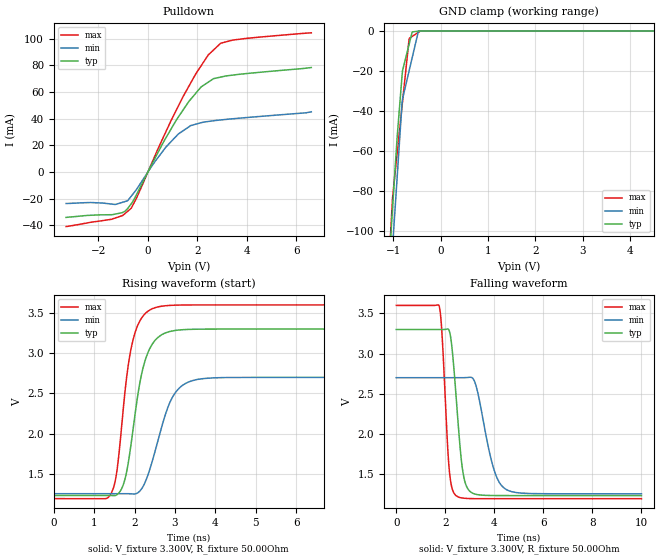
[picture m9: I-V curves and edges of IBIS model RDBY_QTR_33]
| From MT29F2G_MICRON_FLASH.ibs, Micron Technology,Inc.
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|   MODEL RDBY_QTR_33
[Model]   RDBY_QTR_33
Model_type   Open_drain
Vmeas =  1.6500V
Rref = 1000
Cref = 50pF
Vref = 3.3V
|   typ   min   max
C_comp   2.89pF   2.55pF   3.27pF
[Model Spec]
| Measurement voltage corners
Vmeas   1.650V   1.3500V   1.800V
| Timing spec test load voltage corners
Vref   3.300V   2.700V   3.600V
[Voltage Range]   3.300V   2.700V   3.600V
| Junction Temperature (Ambient temp is 25C typ, 70C min, 0C max)
[Temperature Range]   40   85   0
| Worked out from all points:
|   slope of the pulldown table from 0 to 0.495 V, typ, clamps not added: 27.9 ohm
|   GND clamp passes 1 mA (typ) near -0.61 V on its own axis
|   falling waveform, V_fixture 3.300V, R_fixture 50.00Ohm: 20-80 % time 335ps typ, 602ps min, 240ps max; typ from 3.3 V to 1.23 V
|   rising waveform, V_fixture 3.300V, R_fixture 50.00Ohm: 20-80 % time 401ps typ, 526ps min, 344ps max; typ from 1.23 V to 3.3 V
[Pulldown]
|   Voltage   I(typ)   I(min)   I(max)
-3.3V     -33.97mA   -23.6mA    -40.88mA
-1.32V    -31.51mA   -24.29mA   -34.48mA
-1.04V    -30.45mA   -22.76mA   -32.73mA
-820mV    -27.47mA   -21.52mA   -29.48mA
-670mV    -23.75mA   -18.08mA   -27.13mA
730mV     25.7mA     18.77mA    30.31mA
1.23V     41.27mA    28.55mA    49.45mA
1.73V     54.63mA    34.86mA    66.85mA
2.15V     63.87mA    37.04mA    79.73mA
2.44V     67.49mA    37.99mA    87.89mA
2.94V     71.28mA    39.12mA    96.67mA
6.6V      78.45mA    45.26mA    104.5mA
[GND Clamp]
|   Voltage   I(typ)   I(min)   I(max)
-3.3V     -1.139A    -1.091A    -1.18A
-1.31V    -207.7mA   -212.1mA   -209.5mA
-1.04V    -95.9mA    -115.2mA   -91.99mA
-1.02V    -88.34mA   -108mA     -83.28mA
-1.01V    -84.72mA   -104.5mA   -80.84mA
-920mV    -52.22mA   -72.17mA   -60.51mA
-820mV    -22.63mA   -36.29mA   -37.91mA
-810mV    -19.93mA   -34.03mA   -35.65mA
-670mV    -6.66mA    -19.92mA   -4.011mA
-600mV    -440.2uA   -12.86mA   -2.604mA
-470mV    -25.93uA   -38.69uA   -606.2uA
6.6V      0A         0A         0A
[POWER Clamp]
|No Power Clamp Diode
|   Voltage   I(typ)   I(min)   I(max)
-3.3V     0A         0A         0A
0V        0A         0A         0A
6.6V      0A         0A         0A
[Ramp]
R_load = 50.00Ohm
|   typ   min   max
dV/dt_r   1.240V/401.153ps 866.998mV/526.017ps   1.444V/343.462ps
dV/dt_f   1.240V/334.932ps 866.998mV/602.091ps   1.444V/240.299ps
[Falling Waveform]
V_fixture = 3.300V
V_fixture_min = 2.700V
V_fixture_max = 3.600V
R_fixture = 50.00Ohm
|   Time   V(typ)   V(min)   V(max)
0s        3.3V       2.7V       3.6V
1.75ns    3.3V       2.7V       3.591V
1.86ns    3.3V       2.7V       3.267V
2.15ns    3.291V     2.7V       1.591V
2.44ns    2.464V     2.7V       1.232V
2.72ns    1.522V     2.7V       1.201V
3.1ns     1.265V     2.698V     1.195V
3.98ns    1.233V     1.56V      1.194V
4.42ns    1.233V     1.321V     1.194V
10ns      1.233V     1.255V     1.194V
[Rising Waveform]
V_fixture = 3.300V
V_fixture_min = 2.700V
V_fixture_max = 3.600V
R_fixture = 50.00Ohm
|   Time   V(typ)   V(min)   V(max)
0s        1.233V     1.255V     1.194V
1.42ns    1.233V     1.255V     1.259V
1.56ns    1.241V     1.255V     1.53V
1.72ns    1.366V     1.255V     2.308V
1.93ns    1.934V     1.253V     3.097V
2.18ns    2.755V     1.32V      3.442V
2.43ns    3.107V     1.645V     3.551V
2.9ns     3.273V     2.417V     3.595V
3.43ns    3.297V     2.659V     3.6V
10ns      3.3V       2.7V       3.6V
